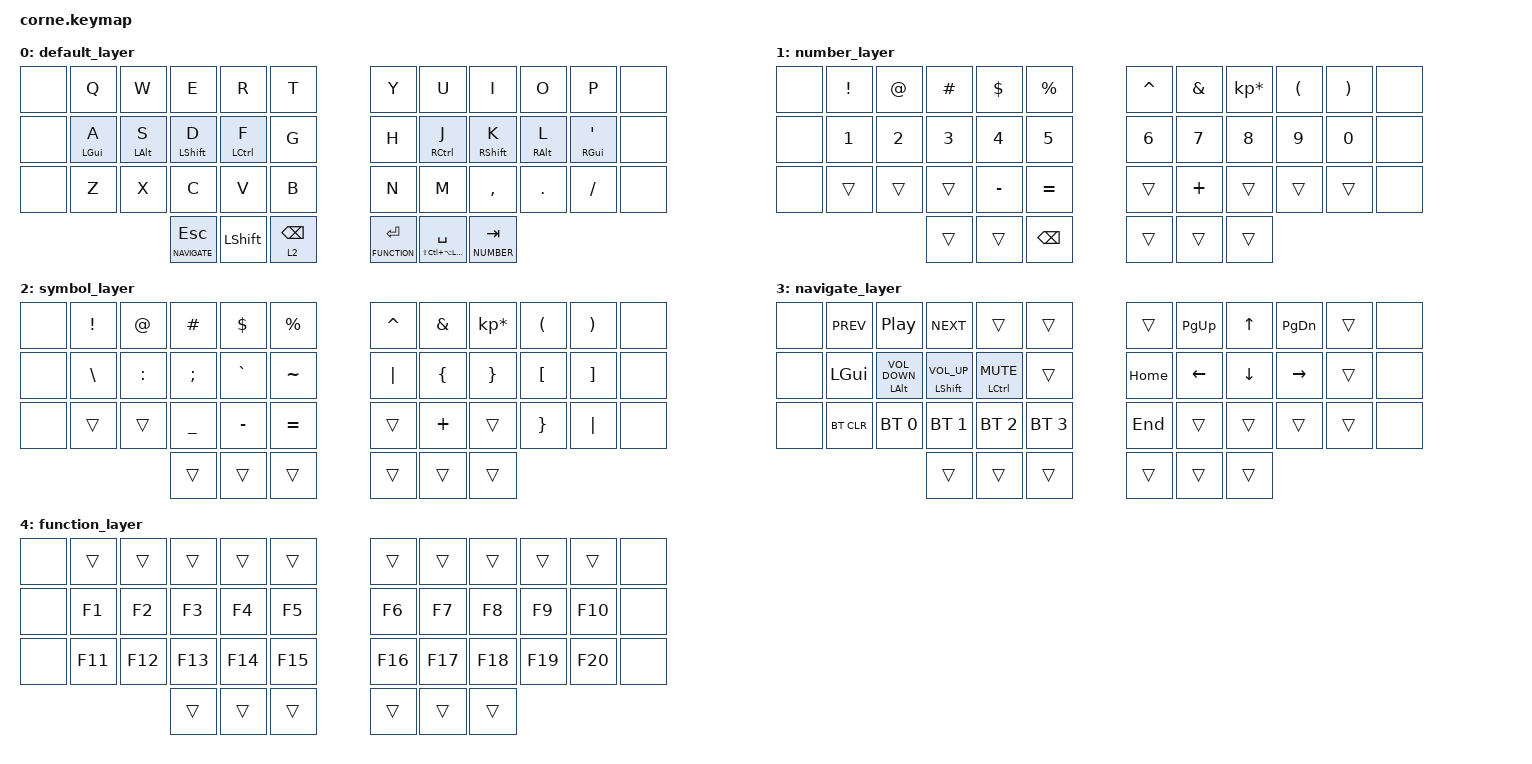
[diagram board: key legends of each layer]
/*
 * Copyright (c) 2020 The ZMK Contributors
 *
 * SPDX-License-Identifier: MIT
 */

#include <behaviors.dtsi>
#include <dt-bindings/zmk/bt.h>
#include <dt-bindings/zmk/keys.h>

#define DEFAULT 0
#define NUMBER 1
#define SYMBOL 2
#define NAVIGATE 3
#define FUNCTION 4
#define HYP LS(LC(LA(LGUI)))

/ {
    behaviors {
        hm: homerow_mods {
            compatible = "zmk,behavior-hold-tap";
            label = "HOMEROW_MODS";
            #binding-cells = <2>;
            tapping-term-ms = <200>;
            quick-tap-ms = <175>;
            flavor = "tap-preferred";
            bindings =
                <&kp>,
                <&kp>;

            global-quick-tap;
        };
        layer_tap: layer_tap {
            compatible = "zmk,behavior-hold-tap";
            label = "LAYER_TAP";
            bindings =
                <&mo>,
                <&kp>;

            #binding-cells = <2>;
            tapping-term-ms = <200>;
            quick-tap-ms = <175>;
            flavor = "tap-preferred";
        };
    };

    keymap {
        compatible = "zmk,keymap";

        default_layer {
            // -----------------------------------------------------------------------------------------
            // | empty |  Q       |  W      |  E        |  R       |  T  |   |  Y  |  U         |  I       |  O      |  P      | empty |
            // | empty |  A /cmd  |  S/alt  |  D/shift  |  F/ctrl  |  G  |   |  H  |  J/ctrl    |  K/shift |  L/alt  |  '/cmd  | empty |
            // | empty |  Z       |  X      |  C        |  V       |  B  |   |  N  |  M         |  ,       |  .      |  /      | empty |
            //                              | GUI       | LWR      | SPC |   | ENT | RSE        | ALT      |

            bindings = <
&none       &kp Q       &kp W             &kp E        &kp R                   &kp T               &kp Y          &kp U           &kp I       &kp O          &kp P  &none
&none  &hm LGUI A  &hm LALT S      &hm LSHIFT D  &hm LCTRL F                   &kp G               &kp H    &hm RCTRL J    &hm RSHIFT K  &hm RALT L  &hm RGUI APOS  &none
&none       &kp Z       &kp X             &kp C        &kp V                   &kp B               &kp N          &kp M       &kp COMMA     &kp DOT       &kp FSLH  &none
                               &lt NAVIGATE ESC   &kp LSHIFT  &layer_tap 2 BACKSPACE    &lt FUNCTION RET  &hm HYP SPACE  &lt NUMBER TAB
            >;
        };

        number_layer {
            // -----------------------------------------------------------------------------------------
            // |  empty  |  !  |  @  |  #  |  $  |  %  |   |  ^  |  &  |  *  |  (  |  )  | empty |
            // |  empty  |  1  |  2  |  3  |  4  |  5  |   |  6  |  7  |  8  |  9  |  0  | empty |
            // |  empty  |     |     |     |  -  |  =  |   |     |  +  |     |     |     | empty |
            //                       |     |     | BSPC|   |     |     |     |

            bindings = <
&none  &kp EXCL  &kp AT  &kp HASH   &kp DLLR  &kp PRCNT    &kp CARET  &kp AMPS  &kp KP_MULTIPLY  &kp LPAR  &kp RPAR  &none
&none    &kp N1  &kp N2    &kp N3     &kp N4     &kp N5       &kp N6    &kp N7           &kp N8    &kp N9    &kp N0  &none
&none    &trans  &trans    &trans  &kp MINUS  &kp EQUAL       &trans  &kp PLUS           &trans    &trans    &trans  &none
                           &trans     &trans   &kp BSPC       &trans    &trans           &trans
            >;
        };

        symbol_layer {
            // -----------------------------------------------------------------------------------------
            // | empty |  !  |  @  |  #  |  $  |  %  |   |  ^  |  &  |  *  |  (  |  )  | empty |
            // | empty |     |     |     |     |     |   |  -  |  =  |  [  |  ]  |  \  | empty |
            // | empty |     |     |     |     |     |   |  _  |  +  |  {  |  }  | "|" | empty |
            //                     | GUI |     | SPC |   | ENT |     | ALT |

            bindings = <
&none  &kp EXCL     &kp AT   &kp HASH   &kp DLLR  &kp PRCNT    &kp CARET  &kp AMPS  &kp KP_MULTIPLY  &kp LPAR  &kp RPAR  &none
&none  &kp BSLH  &kp COLON   &kp SEMI  &kp GRAVE  &kp TILDE     &kp PIPE  &kp LBRC         &kp RBRC  &kp LBKT  &kp RBKT  &none
&none    &trans     &trans  &kp UNDER  &kp MINUS  &kp EQUAL       &trans  &kp PLUS           &trans  &kp RBRC  &kp PIPE  &none
                               &trans     &trans     &trans       &trans    &trans           &trans
            >;
        };

        navigate_layer {
            // -----------------------------------------------------------------------------------------
            // | empty | PREV  | PLAY | NEXT |      |     |   |      |PG_UP|  UP |PG_DN|  0  | empty |
            // | empty | LGUI  | VOLD | VOLU | MUTE |     |   | HOME | LFT | DWN | RGT |     | empty |
            // | empty | BTCLR | BT1  | BT2  | BT3  | BT4 |   |      | END |     |     |     | empty |
            //                        | GUI  |      | SPC |   | ENT  |     | ALT |

            bindings = <
&none  &kp C_PREV        &kp C_PLAY_PAUSE              &kp C_NEXT            &trans        &trans      &trans  &kp PG_UP    &kp UP  &kp PG_DN  &trans  &none
&none    &kp LGUI  &hm LALT C_VOLUME_DOWN  &hm LSHIFT C_VOLUME_UP  &hm LCTRL C_MUTE        &trans    &kp HOME   &kp LEFT  &kp DOWN  &kp RIGHT  &trans  &none
&none  &bt BT_CLR            &bt BT_SEL 0            &bt BT_SEL 1      &bt BT_SEL 2  &bt BT_SEL 3     &kp END     &trans    &trans     &trans  &trans  &none
                                                           &trans            &trans        &trans      &trans     &trans    &trans
            >;
        };

        function_layer {
            // -----------------------------------------------------------------------------------------
            // | empty |     |     |     |     |     |   |     |     |     |     |     | empty |
            // | empty | F1  | F2  | F3  | F4  | F5  |   | F6  | F7  | F8  | F9  | F10 | empty |
            // | empty | F11 | F12 | F13 | F14 | F15 |   | F16 | F17 | F18 | F19 | F20 | empty |
            //                     | GUI |     | SPC |   | ENT |     | ALT |

            bindings = <
&none   &trans   &trans   &trans   &trans   &trans     &trans   &trans   &trans   &trans   &trans  &none
&none   &kp F1   &kp F2   &kp F3   &kp F4   &kp F5     &kp F6   &kp F7   &kp F8   &kp F9  &kp F10  &none
&none  &kp F11  &kp F12  &kp F13  &kp F14  &kp F15    &kp F16  &kp F17  &kp F18  &kp F19  &kp F20  &none
                          &trans   &trans   &trans     &trans   &trans   &trans
            >;
        };
    };
};
